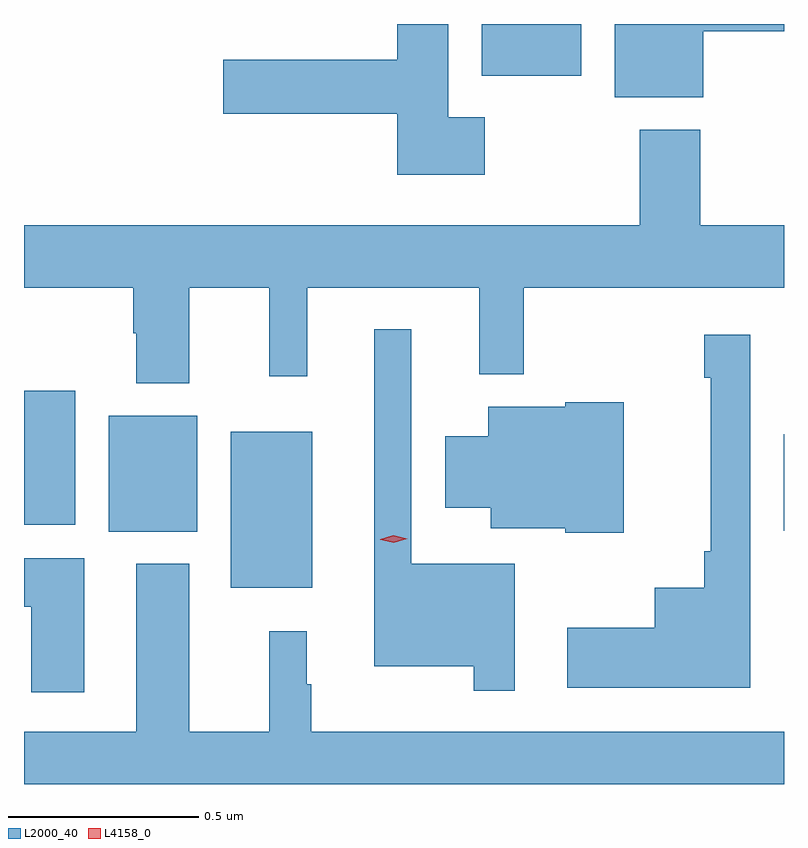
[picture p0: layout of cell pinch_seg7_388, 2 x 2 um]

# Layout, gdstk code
import gdstk
lib = gdstk.Library(unit=1e-6, precision=1e-09)
def R(c, l, rs):  # rectangles x0, y0, x1, y1
    for r in rs: c.add(gdstk.rectangle(r[:2], r[2:], *l))
def P(c, l, *ps):  # polygons
    for p in ps: c.add(gdstk.Polygon(p, *l))
L2000_40 = (2000, 40)
L4158_0 = (4158, 0)

pinch_seg7_388 = lib.new_cell('pinch_seg7_388')
R(pinch_seg7_388, L2000_40, [(489.698,1005.155,489.913,1005.565), (489.377,1005.302,489.61,1005.607), (491.153,1005.305,491.154,1005.559), (489.154,1005.32,489.289,1005.673), (490.358,1006.502,490.621,1006.638)])
P(pinch_seg7_388, L2000_40, [(490.942,1006.619),(491.154,1006.619),(491.154,1006.638),(490.709,1006.638),(490.709,1006.445),(490.942,1006.445)],
  [(490.366,1006.393),(490.27,1006.393),(490.27,1006.638),(490.136,1006.638),(490.136,1006.544),(489.678,1006.544),(489.678,1006.402),(490.136,1006.402),(490.136,1006.241),(490.366,1006.241)],
  [(489.589,1005.944),(489.8,1005.944),(489.8,1005.711),(489.899,1005.711),(489.899,1005.944),(490.352,1005.944),(490.352,1005.716),(490.469,1005.716),(490.469,1005.944),(491.154,1005.944),(491.154,1006.108),(490.934,1006.108),(490.934,1006.36),(490.774,1006.36),(490.774,1006.108),(489.154,1006.108),(489.154,1005.944),(489.442,1005.944),(489.442,1005.824),(489.449,1005.824),(489.449,1005.692),(489.589,1005.692)],
  [(490.446,1005.217),(490.173,1005.217),(490.173,1005.835),(490.076,1005.835),(490.076,1004.948),(490.338,1004.948),(490.338,1004.883),(490.446,1004.883)],
  [(491.065,1005.82),(490.944,1005.82),(490.944,1005.707),(490.961,1005.707),(490.961,1005.25),(490.944,1005.25),(490.944,1005.154),(490.814,1005.154),(490.814,1005.049),(490.584,1005.049),(490.584,1004.891),(491.065,1004.891)],
  [(490.732,1005.643),(490.578,1005.643),(490.578,1005.631),(490.376,1005.631),(490.376,1005.553),(490.262,1005.553),(490.262,1005.365),(490.382,1005.365),(490.382,1005.311),(490.578,1005.311),(490.578,1005.299),(490.732,1005.299)],
  [(489.313,1005.232),(489.154,1005.232),(489.154,1005.104),(489.173,1005.104),(489.173,1004.88),(489.313,1004.88)],
  [(491.154,1004.776),(489.91,1004.776),(489.91,1004.9),(489.898,1004.9),(489.898,1005.04),(489.8,1005.04),(489.8,1004.776),(489.589,1004.776),(489.589,1005.217),(489.449,1005.217),(489.449,1004.776),(489.154,1004.776),(489.154,1004.638),(491.154,1004.638)])
P(pinch_seg7_388, L4158_0, [(490.127,1005.273),(490.091,1005.281),(490.091,1005.282),(490.091,1005.282),(490.126,1005.293),(490.162,1005.284),(490.162,1005.284),(490.162,1005.284)])

lib.write_gds('pinch_seg7_388.gds')
